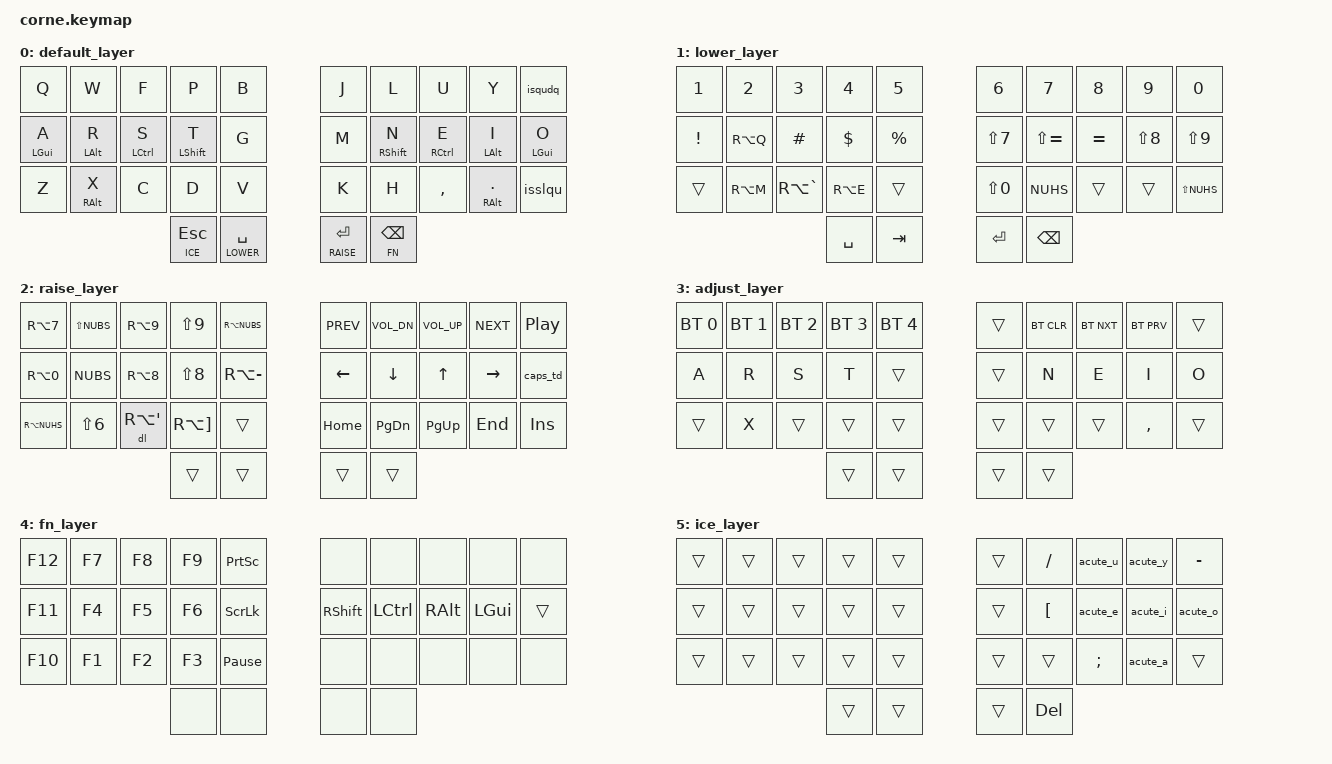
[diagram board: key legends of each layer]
/*
 * Copyright (c) 2020 The ZMK Contributors
 *
 * SPDX-License-Identifier: MIT
 */

#include <behaviors.dtsi>
#include <dt-bindings/zmk/keys.h>
#include <dt-bindings/zmk/bt.h>
#include <dt-bindings/zmk/outputs.h>

#define TAPPING_TERM 200
#define SHIFT_TAP    150
#define QUICK_TAP    135

#define DEFAULT 0
#define LOWER   1
#define RAISE   2
#define ADJUST  3
#define FN      4
#define ICE     5

#define IS_ODIA MINUS
#define IS_MINUS EQUAL
#define IS_ETH LBKT
#define IS_SQT RBKT
#define IS_AT RA(Q)
#define IS_FSLH LS(N7)
#define IS_UNDER LS(EQUAL)
#define IS_LPAR LS(N8)
#define IS_RPAR LS(N9)
#define IS_LBRC RA(N7)
#define IS_RBRC RA(N0)
#define IS_GT LS(NUBS)
#define IS_LT NUBS
#define IS_LBKT RA(N8)
#define IS_RBKT RA(N9)
#define IS_PIPE RA(NUBS)
#define IS_BSLH RA(MINUS)
#define IS_MICR RA(M)
#define IS_EURO RA(E)
#define IS_EQUAL LS(N0)
#define IS_MULTIPLY LS(NUHS)
#define IS_PLUS NUHS
#define IS_GRAVE RA(NUHS)
#define IS_AMPS LS(N6)
#define IS_TILDE RA(RBKT)
#define IS_COLON LS(DOT)
#define IS_SEMI LS(COMMA)


/ {
    behaviors {
        isslqu: is_slsh_ques {
            compatible = "zmk,behavior-mod-morph";
            label = "IS_FSLH_QUESTION";
            #binding-cells = <0>;
            bindings = <&kp IS_FSLH>, <&kp LS(RBRC)>;
            mods = <(MOD_LSFT|MOD_RSFT)>;
        };

        isqudq: is_quot_dquo {
            compatible = "zmk,behavior-mod-morph";
            label = "IS_QUOT_DQUO";
            #binding-cells = <0>;
            bindings = <&kp IS_SQT>, <&kp RS(N2)>;
            mods = <(MOD_LSFT|MOD_RSFT)>;
        };

        iscommagt: is_comma_lt {
            compatible = "zmk,behavior-mod-morph";
            label = "IS_COMMA_LT";
            #binding-cells = <0>;
            bindings = <&kp COMMA>, <&kp IS_LT>;
            mods = <(MOD_LSFT|MOD_RSFT)>;
        };

        isdotgt: is_dot_gt {
            compatible = "zmk,behavior-mod-morph";
            label = "IS_DOT_GT";
            #binding-cells = <0>;
            bindings = <&kp DOT>, <&kp IS_GT>;
            mods = <(MOD_LSFT|MOD_RSFT)>;
        };

        acute_a: acute_a {
            compatible = "zmk,behavior-mod-morph";
            label = "ACUTE_A";
            #binding-cells = <0>;
            bindings = <&acute_letter A>, <&acute_letter_cap A>;
            mods = <(MOD_LSFT|MOD_RSFT)>;
        };

        acute_e: acute_e {
            compatible = "zmk,behavior-mod-morph";
            label = "ACUTE_E";
            #binding-cells = <0>;
            bindings = <&acute_letter E>, <&acute_letter_cap E>;
            mods = <(MOD_LSFT|MOD_RSFT)>;
        };

        acute_i: acute_i {
            compatible = "zmk,behavior-mod-morph";
            label = "ACUTE_I";
            #binding-cells = <0>;
            bindings = <&acute_letter I>, <&acute_letter_cap I>;
            mods = <(MOD_LSFT|MOD_RSFT)>;
        };

        acute_o: acute_o {
            compatible = "zmk,behavior-mod-morph";
            label = "ACUTE_O";
            #binding-cells = <0>;
            bindings = <&acute_letter O>, <&acute_letter_cap O>;
            mods = <(MOD_LSFT|MOD_RSFT)>;
        };

        acute_u: acute_u {
            compatible = "zmk,behavior-mod-morph";
            label = "ACUTE_U";
            #binding-cells = <0>;
            bindings = <&acute_letter U>, <&acute_letter_cap U>;
            mods = <(MOD_LSFT|MOD_RSFT)>;
        };

        acute_y: acute_y {
            compatible = "zmk,behavior-mod-morph";
            label = "ACUTE_Y";
            #binding-cells = <0>;
            bindings = <&acute_letter Y>, <&acute_letter_cap Y>;
            mods = <(MOD_LSFT|MOD_RSFT)>;
        };

        caps_td: caps_tap_dance {
            compatible = "zmk,behavior-tap-dance";
            label = "CAPS_TAB_DANCE";
            #binding-cells = <0>;
            tapping-term-ms = <200>;
            bindings = <&is_caps_word>, <&kp CAPS>;
        };


        hml: homerow_mods_left {
            compatible = "zmk,behavior-hold-tap";
            label = "HOMEROW_MODS_LEFT";
            #binding-cells = <2>;
            flavor = "tap-preferred";
            tapping-term-ms = <TAPPING_TERM>;                        // <---[[produces tap if held longer than tapping-term-ms]]
            quick-tap-ms = <QUICK_TAP>;
            bindings = <&kp>, <&kp>;
            hold-trigger-key-positions = <5 6 7 8 9 15 16 17 18 19 25 26 27 28 29 32 33>;    // <---[[right-hand keys, 3x5+2 layout]]
            hold-trigger-on-release;
        };

        hmr: homerow_mods_right {
            compatible = "zmk,behavior-hold-tap";
            label = "HOMEROW_MODS_RIGHT";
            #binding-cells = <2>;
            flavor = "tap-preferred";
            tapping-term-ms = <TAPPING_TERM>;                        // <---[[produces tap if held longer than tapping-term-ms]]
            quick-tap-ms = <QUICK_TAP>;
            bindings = <&kp>, <&kp>;
            hold-trigger-key-positions = <0 1 2 3 4 10 11 12 13 14 20 21 22 23 24 30 31>;    // <---[[left-hand keys, 3x5+2 layout]]
            hold-trigger-on-release;
        };

        hmls: homerow_mods_left_shift {
            compatible = "zmk,behavior-hold-tap";
            label = "HOMEROW_MODS_LEFT_SHIFT";
            #binding-cells = <2>;
            flavor = "tap-preferred";
            tapping-term-ms = <SHIFT_TAP>;                        // <---[[produces tap if held longer than tapping-term-ms]]
            quick-tap-ms = <QUICK_TAP>;
            bindings = <&kp>, <&kp>;
            /* hold-trigger-key-positions = <6 7 8 9 10 11 18 19 20 21 22 23 30 31 32 33 34 35 39 40 41>;    // <---[[right-hand keys]] */
        };

        hmrs: homerow_mods_right_shift {
            compatible = "zmk,behavior-hold-tap";
            label = "HOMEROW_MODS_RIGHT_SHIFT";
            #binding-cells = <2>;
            flavor = "tap-preferred";
            tapping-term-ms = <SHIFT_TAP>;                        // <---[[produces tap if held longer than tapping-term-ms]]
            quick-tap-ms = <QUICK_TAP>;
            bindings = <&kp>, <&kp>;
            // <---[[left-hand keys]];    hold-trigger-key-positions = <0 1 2 3 4 5 12 13 14 15 16 17 24 25 26 27 28 29 36 37 38>
        };

        lmr: layer_mods_repeat {
            compatible = "zmk,behavior-hold-tap";
            label = "LAYER_MODS_REPEAT";
            #binding-cells = <2>;
            tapping-term-ms = <200>;
            quick-tap-ms = <175>;
            flavor = "tap-preferred";
            bindings = <&mo>, <&kp>;
        };

        lmb: layer_mods_balanced {
            compatible = "zmk,behavior-hold-tap";
            label = "LAYER_MODS_BALANCED";
            #binding-cells = <2>;
            tapping-term-ms = <200>;
            quick-tap-ms = <175>;
            flavor = "balanced";
            bindings = <&mo>, <&kp>;
        };

        is_caps_word: behavior_is_caps_word {
            compatible = "zmk,behavior-caps-word";
            label = "IS_CAPS_WORD";
            #binding-cells = <0>;
            continue-list = <IS_UNDER BKSP DELETE MINUS>;
        };
    };

    macros {
            acute_letter: acute_letter {
            label = "ACUTE_LETTER_MACRO";
            compatible = "zmk,behavior-macro-one-param";
            #binding-cells = <1>; // Must be 1
            bindings
                = <&kp SQT>
                , <&macro_param_1to1>, <&kp MACRO_PLACEHOLDER>;
        };

            acute_letter_cap: acute_letter_cap {
            label = "ACUTE_LETTER_MACRO_CAPITAL";
            compatible = "zmk,behavior-macro-one-param";
            #binding-cells = <1>; // Must be 1
            bindings
                = <&kp SQT>
                , <&macro_param_1to1>, <&kp LS(MACRO_PLACEHOLDER)>;
        };

            dl: dead_letter {
            label = "DEAD_LETTER_MACRO";
            compatible = "zmk,behavior-macro-one-param";
            #binding-cells = <1>; // Must be 1
            bindings
                = <&macro_param_1to1>, <&kp MACRO_PLACEHOLDER>
                , <&kp SPACE>;
        };
    };

    conditional_layers {
        compatible = "zmk,conditional-layers";
        tri_layer {
            if-layers = <LOWER RAISE>;
            then-layer = <ADJUST>;
        };
    };

    combos {
        compatible = "zmk,combos";
        combo_esc {
            timeout-ms = <50>;
            key-positions = <0 10>;
            bindings = <&kp TAB>;
        };
        combo_rbrc {
            timeout-ms = <50>;
            key-positions = <6 16>;
            bindings = <&kp RA(N9)>;
        };

        combo_lbrc {
            timeout-ms = <50>;
            key-positions = <7 17>;
            bindings = <&kp RA(N8)>;
        };
        combo_grv {
            timeout-ms = <50>;
            key-positions = <16 17>;
            bindings = <&kp RA(NUHS)>;
        };
    };

        keymap {
                compatible = "zmk,keymap";

                default_layer {
// -----------------------------------------------------------------------------------------
// |  TAB |  Q  |  W  |  E  |  R  |  T  |   |  Y  |  U   |  I  |  O  |  P  | BKSP |
// | CTRL |  A  |  S  |  D  |  F  |  G  |   |  H  |  J   |  K  |  L  |  ;  |  '   |
// | SHFT |  Z  |  X  |  C  |  V  |  B  |   |  N  |  M   |  ,  |  .  |  /  | ESC  |
//                    | GUI | LWR | SPC |   | ENT | RSE  | ALT |
                        bindings = <
   &kp Q       &kp W       &kp F         &kp P          &kp B            &kp J          &kp L         &kp U         &kp Y         &isqudq      
   &hml LGUI A &hml LALT R &hml LCTRL S  &hmls LSHFT T  &kp G            &kp M          &hmrs RSHFT N &hmr RCTRL E  &hmr LALT I   &hmr LGUI O  
   &kp Z       &hml RALT X &kp C         &kp D          &kp V            &kp K          &kp H         &kp COMMA     &hmr RALT DOT &isslqu      
                                         &lt ICE ESC    &lmb LOWER SPACE &lmb RAISE RET &lmr FN BSPC
                        >;
                };

                lower_layer {
                        bindings = <
   &kp N1       &kp N2          &kp N3         &kp N4       &kp N5         &kp N6       &kp N7        &kp N8       &kp N9      &kp N0          
   &kp EXCL     &kp IS_AT       &kp HASH       &kp DLLR     &kp PRCNT      &kp IS_FSLH  &kp IS_UNDER  &kp IS_MINUS &kp IS_LPAR &kp IS_RPAR     
   &trans       &kp IS_MICR     &kp RA(GRAVE)  &kp IS_EURO  &trans         &kp IS_EQUAL &kp IS_PLUS   &trans       &trans      &kp IS_MULTIPLY 
                                         &kp SPACE    &kp TAB        &kp ENTER    &kp BSPC
                        >;

                };

                raise_layer {
                        bindings = <
   &kp IS_LBRC  &kp IS_GT    &kp IS_RBKT     &kp IS_RPAR      &kp IS_PIPE       &kp C_PREV  &kp C_VOL_DN &kp C_VOL_UP &kp C_NEXT &kp C_PLAY_PAUSE
   &kp IS_RBRC  &kp IS_LT    &kp IS_LBKT     &kp IS_LPAR      &kp IS_BSLH       &kp LEFT    &kp DOWN     &kp UP       &kp RIGHT  &caps_td         
   &kp IS_GRAVE &kp IS_AMPS  &dl RA(SQT)     &kp RA(RBKT)     &trans            &kp HOME    &kp PG_DN    &kp PG_UP    &kp END    &kp INS          
                             &trans          &trans           &trans            &trans
                >;
        };

        adjust_layer {
                bindings = <
      &bt BT_SEL 0  &bt BT_SEL 1  &bt BT_SEL 2  &bt BT_SEL 3  &bt BT_SEL 4 &trans     &bt BT_CLR &bt BT_NXT &bt BT_PRV &trans
      &kp A         &kp R         &kp S         &kp T         &trans       &trans     &kp N      &kp E      &kp I      &kp O 
      &trans        &kp X         &trans        &trans        &trans       &trans     &trans     &trans     &kp COMMA  &trans
                                  &trans        &trans       &trans     &trans
                >;
        };

        fn_layer {
                bindings = <
     &kp F12     &kp F7     &kp F8     &kp F9     &kp PSCRN        &none     &none     &none     &none     &none
     &kp F11     &kp F4     &kp F5     &kp F6     &kp SLCK         &kp RSHFT &kp LCTRL &kp RALT  &kp LGUI  &trans
     &kp F10     &kp F1     &kp F2     &kp F3     &kp PAUSE_BREAK  &none     &none     &none     &none     &none
                                      &none      &none            &none     &none
                >;
        };

        ice_layer {
                bindings = <
      &trans     &trans     &trans     &trans     &trans        &trans     &kp SLASH  &acute_u   &acute_y  &kp IS_ODIA
      &trans     &trans     &trans     &trans     &trans        &trans     &kp IS_ETH &acute_e   &acute_i  &acute_o   
      &trans     &trans     &trans     &trans     &trans        &trans     &trans     &kp SEMI   &acute_a  &trans     
                                       &trans     &trans        &trans     &kp DEL
                >;
        };


/* // TODO: Program BT_SEL to clear profile when holding shift. */
/*                 miryoku_media { */
/*                         bindings = < */
/*    &none     &none     &none     &none     &none     &none        &bt BT_CLR   &none        &none        &none        &none        &none */
/*    &none     &kp LGUI  &kp RALT  &kp RCTRL &kp LSHFT &none        &kp C_PREV   &kp C_VOL_DN &kp C_VOL_UP &kp C_NEXT   &none        &none */
/*    &none     &none     &none     &none     &none     &none        &out OUT_TOG &bt BT_SEL 0 &bt BT_SEL 1 &bt BT_SEL 2 &bt BT_SEL 3 &none */
/*                                  &none     &none     &none        &kp C_STOP   &kp C_PLAY_PAUSE &kp C_MUTE */
/*                         >; */
/*                 }; */

        };
};

